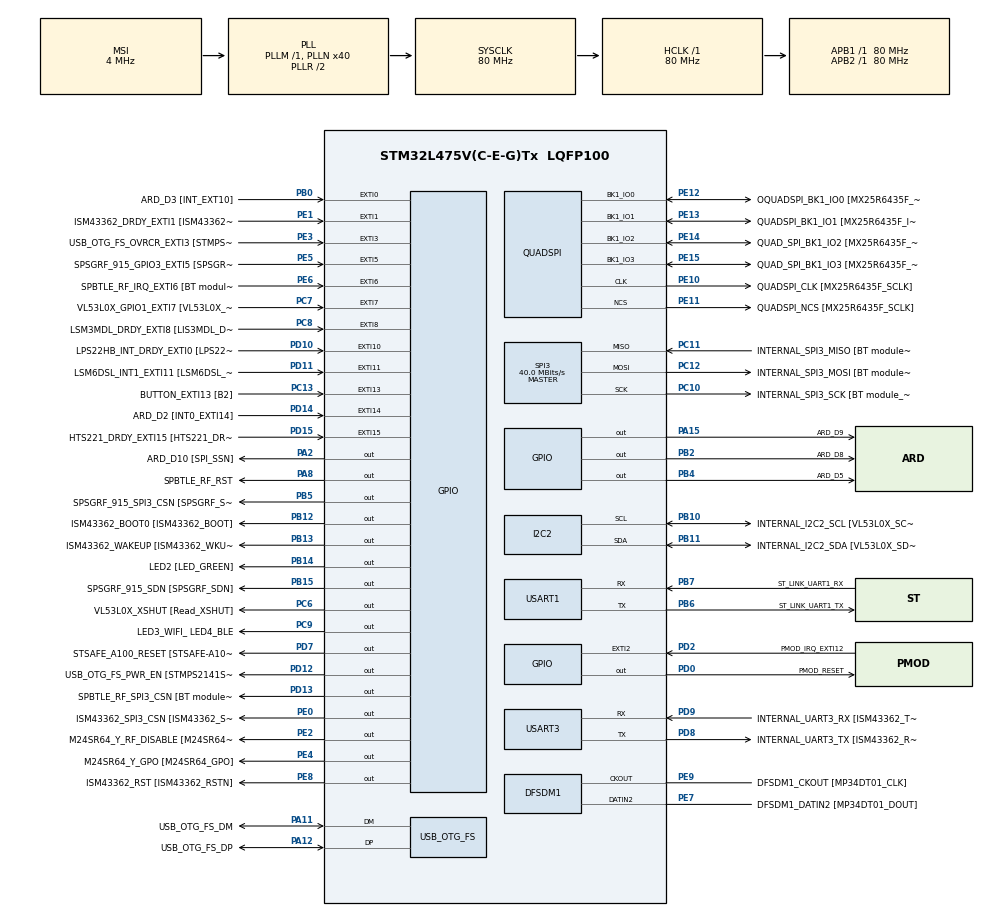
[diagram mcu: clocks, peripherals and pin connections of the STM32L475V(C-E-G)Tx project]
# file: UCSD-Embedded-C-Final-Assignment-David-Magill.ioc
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PD12.GPIO_Label=USB_OTG_FS_PWR_EN [STMPS2141STR_EN]
SPI3.Direction=SPI_DIRECTION_2LINES
SPI3.VirtualType=VM_MASTER
QUADSPI.ClockPrescaler=2
PB10.Mode=I2C
PC12.Signal=SPI3_MOSI
PB14.GPIO_Label=LED2 [LED_GREEN]
PC6.GPIO_Label=VL53L0X_XSHUT [Read_XSHUT]
PA6.GPIO_Label=ARD_D12 [SPI1_MISO]
PB6.GPIO_Label=ST_LINK_UART1_TX
PA15\ (JTDI).Signal=GPIO_Output
PC15-OSC32_OUT\ (PC15).Mode=LSE-External-Oscillator
PB13.Signal=GPIO_Output
PD6.GPIO_Label=PMOD_UART2_RX
PE6.GPIO_Label=SPBTLE_RF_IRQ_EXTI6 [BT module_SPI_IRQ]
RCC.SYSCLKSource=RCC_SYSCLKSOURCE_PLLCLK
PC14-OSC32_IN\ (PC14).Mode=LSE-External-Oscillator
SH.ADCx_IN16.0=ADC1_IN16
USART3.VirtualMode-Asynchronous=VM_ASYNC
PA14\ (JTCK-SWCLK).Signal=SYS_JTCK-SWCLK
PD4.Signal=USART2_RTS
RCC.APB2TimFreq_Value=80000000
PB6.Signal=USART1_TX
PC7.Signal=GPXTI7
PB6.Mode=Asynchronous
PC3.Signal=ADCx_IN4
PD0.Signal=GPIO_Output
PD8.Signal=USART3_TX
PE5.Signal=GPXTI5
PE1.Signal=GPXTI1
QUADSPI.FlashSize=23
NVIC.EXTI15_10_IRQn=true\:0\:0\:false\:false\:true\:true\:true
PB2.Signal=GPIO_Output
PD1.GPIO_Label=PMOD_SPI2_SCK
PB12.GPIO_Label=ISM43362_BOOT0 [ISM43362_BOOT]
PC4.GPIO_Label=ARD_A1 [ADC]
PE9.Signal=S_CKOUTDFSDM1
PB1.GPIO_Label=ARD_D6 [ADC1_IN6]
PE4.GPIO_Label=M24SR64_Y_GPO [M24SR64_GPO]
PE2.Signal=GPIO_Output
PA8.Signal=GPIO_Output
PE13.Mode=Single Bank
PE10.Signal=QUADSPI_CLK
PA0.Signal=UART4_TX
Mcu.Package=LQFP100
PB9.Signal=I2C1_SDA
PB1.Signal=ADCx_IN16
SPI3.Mode=SPI_MODE_MASTER
SH.ADCx_IN14.0=ADC1_IN14
PD12.Signal=GPIO_Output
PA10.Signal=USB_OTG_FS_ID
PE12.GPIO_Label=OQUADSPI_BK1_IO0 [MX25R6435F_IO0]
PC11.Mode=Full_Duplex_Master
SH.ADCx_IN9.0=ADC1_IN9
RCC.APB1TimFreq_Value=80000000
PA13\ (JTMS-SWDIO).Signal=SYS_JTMS-SWDIO
PE10.GPIO_Label=QUADSPI_CLK [MX25R6435F_SCLK]
PA4.GPIO_Label=ARD_D7
PD15.Signal=GPXTI15
PE12.Mode=Single Bank
PD9.GPIO_Label=INTERNAL_UART3_RX [ISM43362_TX]
PA9.GPIO_Label=USB_OTG_FS_VBUS [STMPS2141STR_OUT]
PC13.Signal=GPXTI13
PD3.Signal=USART2_CTS
PC6.Signal=GPIO_Output
PE10.Mode=Single Bank
PC2.Signal=ADCx_IN3
PB11.GPIO_Label=INTERNAL_I2C2_SDA [VL53L0X_SDA]
PD7.Signal=GPIO_Output
PD1.Signal=SPI2_SCK
PA11.GPIO_Label=USB_OTG_FS_DM
PC0.Signal=ADCx_IN1
PD10.Signal=GPXTI10
PB8.GPIO_Label=ARD_D15 [I2C1_SCL]
PA8.GPIO_Label=SPBTLE_RF_RST
PB11.Mode=I2C
PE8.GPIO_Label=ISM43362_RST [ISM43362_RSTN]
PA9.Signal=USB_OTG_FS_VBUS
PE9.GPIO_Label=DFSDM1_CKOUT [MP34DT01_CLK]
PD8.Mode=Asynchronous
PB10.Signal=I2C2_SCL
PB14.Signal=GPIO_Output
PA5.Signal=SPI1_SCK
PC12.Mode=Full_Duplex_Master
PE1.GPIO_Label=ISM43362_DRDY_EXTI1 [ISM43362_DATARDY]
PE14.Signal=QUADSPI_BK1_IO2
PE15.Signal=QUADSPI_BK1_IO3
PB15.GPIO_Label=SPSGRF_915_SDN [SPSGRF_SDN]
PE8.Signal=GPIO_Output
PA1.GPIO_Label=ARD_D0 [UART4_RX]
SH.ADCx_IN4.0=ADC1_IN4
QUADSPI.FifoThreshold=4
PC7.GPIO_Label=VL53L0X_GPIO1_EXTI7 [VL53L0X_GPIO1]
PA13\ (JTMS-SWDIO).Mode=Serial_Wire
PA4.Signal=ADCx_IN9
PB5.Signal=GPIO_Output
PE13.GPIO_Label=QUADSPI_BK1_IO1 [MX25R6435F_IO1]
PA5.GPIO_Label=ARD_D13 [SPI1_SCK]
PD11.Signal=GPXTI11
PE5.GPIO_Label=SPSGRF_915_GPIO3_EXTI5 [SPSGRF_GPIO_3]
PC12.GPIO_Label=INTERNAL_SPI3_MOSI [BT module_SPI_MOSI] [ISM43362_MOSI]
PA11.Signal=USB_OTG_FS_DM
ProjectManager.HeapSize=0x200
NVIC.PriorityGroup=NVIC_PRIORITYGROUP_4
PE3.Signal=GPXTI3
PC3.GPIO_Label=ARD_A2 [ADC]
PB4\ (NJTRST).GPIO_Label=ARD_D5
PD2.Signal=GPXTI2
PB0.Signal=GPXTI0
PC1.Signal=ADCx_IN2
PD2.GPIO_Label=PMOD_IRQ_EXTI12
PE15.Mode=Single Bank
Mcu.Family=STM32L4
RCC.CortexFreq_Value=80000000
PE11.GPIO_Label=QUADSPI_NCS [MX25R6435F_SCLK]
SH.ADCx_IN2.0=ADC1_IN2
PC10.Signal=SPI3_SCK
PA0.GPIO_Label=ARD_D1 [UART4_TX]
PC0.GPIO_Label=ARD_A5 [ADC]
PD0.GPIO_Label=PMOD_RESET
PA11.Mode=Device_Only
PB0.GPIO_Label=ARD_D3 [INT_EXT10]
PC13.GPIO_Label=BUTTON_EXTI13 [B2]
PB13.GPIO_Label=ISM43362_WAKEUP [ISM43362_WKUP]
PB11.Signal=I2C2_SDA
PB15.Signal=GPIO_Output
PD9.Mode=Asynchronous
ProjectManager.StackSize=0x400
PB3\ (JTDO-TRACESWO).Signal=SYS_JTDO-SWO
PD13.Signal=GPIO_Output
PA12.Signal=USB_OTG_FS_DP
PE11.Mode=Single Bank
PD11.GPIO_Label=LSM6DSL_INT1_EXTI11 [LSM6DSL_INT1]
RCC.HCLKFreq_Value=80000000
SH.ADCx_IN3.0=ADC1_IN3
PB5.PinState=GPIO_PIN_SET
RCC.AHBFreq_Value=80000000
RCC.HSE_VALUE=8000000
PE13.Signal=QUADSPI_BK1_IO1
PC11.GPIO_Label=INTERNAL_SPI3_MISO [BT module_SPI_MISO] [ISM43362_MISO]
PA10.GPIO_Label=USB_OTG_FS_ID
PB7.Signal=USART1_RX
PE4.Signal=GPIO_Output
QUADSPI.SampleShifting=QSPI_SAMPLE_SHIFTING_HALFCYCLE
PD7.GPIO_Label=STSAFE_A100_RESET [STSAFE-A100_RESET]
PB7.GPIO_Label=ST_LINK_UART1_RX
PD13.GPIO_Label=SPBTLE_RF_SPI3_CSN [BT module_SPI_CS]
PA6.Signal=SPI1_MISO
PD5.GPIO_Label=PMOD_UART2_TX
PA2.GPIO_Label=ARD_D10 [SPI_SSN]
USB_OTG_FS.VirtualMode=Device_Only
PE0.GPIO_Label=ISM43362_SPI3_CSN [ISM43362_SSN]
SH.ADCx_IN1.0=ADC1_IN1
PB5.GPIO_Label=SPSGRF_915_SPI3_CSN [SPSGRF_SPI_CS]
PC5.Signal=ADCx_IN14
PD3.GPIO_Label=PMOD_UART2_CTS
PE7.Signal=S_DATAIN2DFSDM1
PD6.Signal=USART2_RX
PE2.GPIO_Label=M24SR64_Y_RF_DISABLE [M24SR64_RFDIS]
PC2.GPIO_Label=ARD_A3 [ADC]
RCC.PLLSAI1N=24
PA3.Signal=S_TIM2_CH4
RCC.MSI_VALUE=4000000
PA14\ (JTCK-SWCLK).Mode=Serial_Wire
SH.ADCx_IN13.0=ADC1_IN13
PD15.GPIO_Label=HTS221_DRDY_EXTI15 [HTS221_DRDY]
PB9.GPIO_Label=ARD_D14 [I2C1_SDA]
PC10.GPIO_Label=INTERNAL_SPI3_SCK [BT module_SPI_SCLK] [ISM43362_SCK]
PC9.GPIO_Label=LED3_WIFI_ LED4_BLE
PC11.Signal=SPI3_MISO
PC8.Signal=GPXTI8
PC4.Signal=ADCx_IN13
PC10.Mode=Full_Duplex_Master
SH.S_DATAIN2DFSDM1.0=DFSDM1_DATIN2,PDM_SPI_Input_from_ch12_and_Internal_Clock
PE14.GPIO_Label=QUAD_SPI_BK1_IO2 [MX25R6435F_IO2]
PC15-OSC32_OUT\ (PC15).Signal=RCC_OSC32_OUT
PD9.Signal=USART3_RX
PD5.Signal=USART2_TX
PA14\ (JTCK-SWCLK).GPIO_Label=SYS_JTCK_SWCLK
PB3\ (JTDO-TRACESWO).GPIO_Label=SYS_JTD0_SWO
PA12.GPIO_Label=USB_OTG_FS_DP
PD8.GPIO_Label=INTERNAL_UART3_TX [ISM43362_RX]
PC8.GPIO_Label=LSM3MDL_DRDY_EXTI8 [LIS3MDL_DRDY]
USART1.VirtualMode-Asynchronous=VM_ASYNC
PE0.PinState=GPIO_PIN_SET
PE15.GPIO_Label=QUAD_SPI_BK1_IO3 [MX25R6435F_IO3]
ProjectManager.TargetToolchain=STM32CubeIDE
PB10.GPIO_Label=INTERNAL_I2C2_SCL [VL53L0X_SCL]
RCC.USBFreq_Value=48000000
PD10.GPIO_Label=LPS22HB_INT_DRDY_EXTI0 [LPS22HB_INT_DRDY] 
PE11.Signal=QUADSPI_NCS
PA1.Signal=UART4_RX
board=B-L475E-IOT01A1
RCC.VCOOutputFreq_Value=160000000
RCC.APB2Freq_Value=80000000
SPI3.CalculateBaudRate=40.0 MBits/s
PA13\ (JTMS-SWDIO).GPIO_Label=SYS_JTMS_SWDIO
PD4.GPIO_Label=PMOD_UART2_RTS
PE14.Mode=Single Bank
SH.S_CKOUTDFSDM1.0=DFSDM1_CKOUT,CKOUT
SH.S_CKOUTDFSDM1.1=DFSDM1_CKOUT,PDM_SPI_Input_from_ch12_and_Internal_Clock
RCC.ADCFreq_Value=48000000
PC1.GPIO_Label=ARD_A4 [ADC]
PD14.GPIO_Label=ARD_D2 [INT0_EXTI14]
PE6.Signal=GPXTI6
PA15\ (JTDI).GPIO_Label=ARD_D9
Mcu.Name=STM32L475V(C-E-G)Tx
PE0.Signal=GPIO_Output
PE7.GPIO_Label=DFSDM1_DATIN2 [MP34DT01_DOUT]
PE12.Signal=QUADSPI_BK1_IO0
PA2.Signal=GPIO_Output
PD14.Signal=GPXTI14
RCC.SYSCLKFreq_VALUE=80000000
PA7.GPIO_Label=ARD_D11 [SPI1_MOSI]
PA12.Mode=Device_Only
PC13.GPIO_ModeDefaultEXTI=GPIO_MODE_IT_FALLING
PC5.GPIO_Label=ARD_A0 [ADC]
PC14-OSC32_IN\ (PC14).Signal=RCC_OSC32_IN
PB7.Mode=Asynchronous
NVIC.EXTI9_5_IRQn=true\:0\:0\:false\:false\:true\:true\:true
PB2.GPIO_Label=ARD_D8
SH.S_TIM2_CH4.0=TIM2_CH4
RCC.HSI_VALUE=16000000
RCC.PLLN=40
PB8.Signal=I2C1_SCL
PE3.GPIO_Label=USB_OTG_FS_OVRCR_EXTI3 [STMPS2141STR_FAULT]
PC9.Signal=GPIO_Output
PD13.PinState=GPIO_PIN_SET
RCC.APB1Freq_Value=80000000
PB12.Signal=GPIO_Output
PA3.GPIO_Label=ARD_D4
PA7.Signal=SPI1_MOSI
PB4\ (NJTRST).Signal=GPIO_Output

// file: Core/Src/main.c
/* USER CODE BEGIN Header */
/**
  ******************************************************************************
  * @file           : main.c
  * @brief          : Main program body
  ******************************************************************************
  * @attention
  *
  * <h2><center>&copy; Copyright (c) 2021 STMicroelectronics.
  * All rights reserved.</center></h2>
  *
  * This software component is licensed by ST under BSD 3-Clause license,
  * the "License"; You may not use this file except in compliance with the
  * License. You may obtain a copy of the License at:
  *                        opensource.org/licenses/BSD-3-Clause
  *
  ******************************************************************************
  */
/* USER CODE END Header */
#include "main.h"

/* USER CODE BEGIN Includes */
#include "stm32l4xx_ll_utils.h"
#include "stm32l4xx_ll_gpio.h"

#include <stdio.h>
#include <stdbool.h>

#include "stm32l475e_iot01.h"
#include "stm32l475e_iot01_tsensor.h"
/* USER CODE END Includes */

DFSDM_Channel_HandleTypeDef hdfsdm1_channel1;

I2C_HandleTypeDef hi2c2;

QSPI_HandleTypeDef hqspi;

SPI_HandleTypeDef hspi3;

UART_HandleTypeDef huart1;
UART_HandleTypeDef huart3;

PCD_HandleTypeDef hpcd_USB_OTG_FS;

/* USER CODE BEGIN PV */
volatile int demoCount = 0;
bool demoOneShown = false;
bool demoTwoShown = false;
bool demoThreeShown = false;

/* USER CODE END PV */

void SystemClock_Config(void);
static void MX_GPIO_Init(void);
static void MX_DFSDM1_Init(void);
static void MX_I2C2_Init(void);
static void MX_QUADSPI_Init(void);
static void MX_SPI3_Init(void);
static void MX_USART1_UART_Init(void);
static void MX_USART3_UART_Init(void);
static void MX_USB_OTG_FS_PCD_Init(void);

int main(void)
{

  /* MCU Configuration--------------------------------------------------------*/

  /* Reset of all peripherals, Initializes the Flash interface and the Systick. */
  HAL_Init();

  /* Configure the system clock */
  SystemClock_Config();

  /* Initialize all configured peripherals */
  MX_GPIO_Init();
  MX_DFSDM1_Init();
  MX_I2C2_Init();
  MX_QUADSPI_Init();
  MX_SPI3_Init();
  MX_USART1_UART_Init();
  MX_USART3_UART_Init();
  MX_USB_OTG_FS_PCD_Init();
  /* USER CODE BEGIN 2 */
  BSP_TSENSOR_Init();

  /* USER CODE END 2 */

  /* Infinite loop */
  /* USER CODE BEGIN WHILE */

  char finalAssignmentMessage[] = "Final Assignment\r";
  HAL_UART_Transmit(&huart1, (uint8_t *) finalAssignmentMessage, sizeof(finalAssignmentMessage), HAL_MAX_DELAY);

  while (1)
  {

	if (demoCount == 0) {

		if (!demoOneShown) {
			uint32_t flash = LL_GetFlashSize();
			uint32_t uuidParts[3];
			char demoOneBuffer[69] = {0};

			uuidParts[0] = LL_GetUID_Word0();
			uuidParts[1] = LL_GetUID_Word1();
			uuidParts[2] = LL_GetUID_Word2();

			sprintf(demoOneBuffer, "\n\nDemo 1: LL APIs\rFlash Size: %lu\rUUID: %lu-%lu-%lu\r\n", flash, uuidParts[0], uuidParts[1], uuidParts[2]);
			HAL_UART_Transmit(&huart1, (uint8_t *) demoOneBuffer, sizeof(demoOneBuffer), 1000);

			demoOneShown = true;
		}

		LL_GPIO_TogglePin(LED2_GPIO_Port, LED2_Pin);
		HAL_Delay(1000);
	}

	if (demoCount == 1) {

		if (!demoTwoShown) {
			uint32_t deviceId = HAL_GetDEVID();
			uint32_t uidParts[3];
			char demoTwoBuffer[69] = {0};

			uidParts[0] = HAL_GetUIDw0();
			uidParts[1] = HAL_GetUIDw1();
			uidParts[2] = HAL_GetUIDw2();

			sprintf(demoTwoBuffer, "\n\nDemo 2: HAL APIs\rDevice ID: %lu\rUID: %lu-%lu-%lu\r\n", deviceId, uidParts[0], uidParts[1], uidParts[2]);
			HAL_UART_Transmit(&huart1, (uint8_t *) demoTwoBuffer, sizeof(demoTwoBuffer), 1000);

			demoTwoShown = true;
		}

		HAL_GPIO_TogglePin(GPIOB, LED2_Pin);
		HAL_Delay(2000);
	}

	if (demoCount == 2) {

		if (!demoThreeShown) {
			float temp = BSP_TSENSOR_ReadTemp();
			char demoThreeBuffer[45] = {0};

			sprintf(demoThreeBuffer, "\n\nDemo 3: BSP APIs\rTemperature: %f\r", temp);
			HAL_UART_Transmit(&huart1, (uint8_t *) demoThreeBuffer, sizeof(demoThreeBuffer), 1000);

			demoThreeShown = true;
		}

		BSP_LED_On(LED2);
		HAL_Delay(3000);
		BSP_LED_Off(LED2);
		HAL_Delay(3000);
	}
    /* USER CODE END WHILE */

  }
}

void SystemClock_Config(void)
{
  RCC_OscInitTypeDef RCC_OscInitStruct = {0};
  RCC_ClkInitTypeDef RCC_ClkInitStruct = {0};
  RCC_PeriphCLKInitTypeDef PeriphClkInit = {0};

  /** Configure LSE Drive Capability
  */
  HAL_PWR_EnableBkUpAccess();
  __HAL_RCC_LSEDRIVE_CONFIG(RCC_LSEDRIVE_LOW);
  /** Initializes the RCC Oscillators according to the specified parameters
  * in the RCC_OscInitTypeDef structure.
  */
  RCC_OscInitStruct.OscillatorType = RCC_OSCILLATORTYPE_LSE|RCC_OSCILLATORTYPE_MSI;
  RCC_OscInitStruct.LSEState = RCC_LSE_ON;
  RCC_OscInitStruct.MSIState = RCC_MSI_ON;
  RCC_OscInitStruct.MSICalibrationValue = 0;
  RCC_OscInitStruct.MSIClockRange = RCC_MSIRANGE_6;
  RCC_OscInitStruct.PLL.PLLState = RCC_PLL_ON;
  RCC_OscInitStruct.PLL.PLLSource = RCC_PLLSOURCE_MSI;
  RCC_OscInitStruct.PLL.PLLM = 1;
  RCC_OscInitStruct.PLL.PLLN = 40;
  RCC_OscInitStruct.PLL.PLLP = RCC_PLLP_DIV7;
  RCC_OscInitStruct.PLL.PLLQ = RCC_PLLQ_DIV2;
  RCC_OscInitStruct.PLL.PLLR = RCC_PLLR_DIV2;
  if (HAL_RCC_OscConfig(&RCC_OscInitStruct) != HAL_OK)
  {
    Error_Handler();
  }
  /** Initializes the CPU, AHB and APB buses clocks
  */
  RCC_ClkInitStruct.ClockType = RCC_CLOCKTYPE_HCLK|RCC_CLOCKTYPE_SYSCLK
                              |RCC_CLOCKTYPE_PCLK1|RCC_CLOCKTYPE_PCLK2;
  RCC_ClkInitStruct.SYSCLKSource = RCC_SYSCLKSOURCE_PLLCLK;
  RCC_ClkInitStruct.AHBCLKDivider = RCC_SYSCLK_DIV1;
  RCC_ClkInitStruct.APB1CLKDivider = RCC_HCLK_DIV1;
  RCC_ClkInitStruct.APB2CLKDivider = RCC_HCLK_DIV1;

  if (HAL_RCC_ClockConfig(&RCC_ClkInitStruct, FLASH_LATENCY_4) != HAL_OK)
  {
    Error_Handler();
  }
  PeriphClkInit.PeriphClockSelection = RCC_PERIPHCLK_USART1|RCC_PERIPHCLK_USART3
                              |RCC_PERIPHCLK_I2C2|RCC_PERIPHCLK_DFSDM1
                              |RCC_PERIPHCLK_USB;
  PeriphClkInit.Usart1ClockSelection = RCC_USART1CLKSOURCE_PCLK2;
  PeriphClkInit.Usart3ClockSelection = RCC_USART3CLKSOURCE_PCLK1;
  PeriphClkInit.I2c2ClockSelection = RCC_I2C2CLKSOURCE_PCLK1;
  PeriphClkInit.Dfsdm1ClockSelection = RCC_DFSDM1CLKSOURCE_PCLK;
  PeriphClkInit.UsbClockSelection = RCC_USBCLKSOURCE_PLLSAI1;
  PeriphClkInit.PLLSAI1.PLLSAI1Source = RCC_PLLSOURCE_MSI;
  PeriphClkInit.PLLSAI1.PLLSAI1M = 1;
  PeriphClkInit.PLLSAI1.PLLSAI1N = 24;
  PeriphClkInit.PLLSAI1.PLLSAI1P = RCC_PLLP_DIV7;
  PeriphClkInit.PLLSAI1.PLLSAI1Q = RCC_PLLQ_DIV2;
  PeriphClkInit.PLLSAI1.PLLSAI1R = RCC_PLLR_DIV2;
  PeriphClkInit.PLLSAI1.PLLSAI1ClockOut = RCC_PLLSAI1_48M2CLK;
  if (HAL_RCCEx_PeriphCLKConfig(&PeriphClkInit) != HAL_OK)
  {
    Error_Handler();
  }
  /** Configure the main internal regulator output voltage
  */
  if (HAL_PWREx_ControlVoltageScaling(PWR_REGULATOR_VOLTAGE_SCALE1) != HAL_OK)
  {
    Error_Handler();
  }
  /** Enable MSI Auto calibration
  */
  HAL_RCCEx_EnableMSIPLLMode();
}

static void MX_DFSDM1_Init(void)
{

  hdfsdm1_channel1.Instance = DFSDM1_Channel1;
  hdfsdm1_channel1.Init.OutputClock.Activation = ENABLE;
  hdfsdm1_channel1.Init.OutputClock.Selection = DFSDM_CHANNEL_OUTPUT_CLOCK_SYSTEM;
  hdfsdm1_channel1.Init.OutputClock.Divider = 2;
  hdfsdm1_channel1.Init.Input.Multiplexer = DFSDM_CHANNEL_EXTERNAL_INPUTS;
  hdfsdm1_channel1.Init.Input.DataPacking = DFSDM_CHANNEL_STANDARD_MODE;
  hdfsdm1_channel1.Init.Input.Pins = DFSDM_CHANNEL_FOLLOWING_CHANNEL_PINS;
  hdfsdm1_channel1.Init.SerialInterface.Type = DFSDM_CHANNEL_SPI_RISING;
  hdfsdm1_channel1.Init.SerialInterface.SpiClock = DFSDM_CHANNEL_SPI_CLOCK_INTERNAL;
  hdfsdm1_channel1.Init.Awd.FilterOrder = DFSDM_CHANNEL_FASTSINC_ORDER;
  hdfsdm1_channel1.Init.Awd.Oversampling = 1;
  hdfsdm1_channel1.Init.Offset = 0;
  hdfsdm1_channel1.Init.RightBitShift = 0x00;
  if (HAL_DFSDM_ChannelInit(&hdfsdm1_channel1) != HAL_OK)
  {
    Error_Handler();
  }

}

static void MX_I2C2_Init(void)
{

  hi2c2.Instance = I2C2;
  hi2c2.Init.Timing = 0x00000E14;
  hi2c2.Init.OwnAddress1 = 0;
  hi2c2.Init.AddressingMode = I2C_ADDRESSINGMODE_7BIT;
  hi2c2.Init.DualAddressMode = I2C_DUALADDRESS_DISABLE;
  hi2c2.Init.OwnAddress2 = 0;
  hi2c2.Init.OwnAddress2Masks = I2C_OA2_NOMASK;
  hi2c2.Init.GeneralCallMode = I2C_GENERALCALL_DISABLE;
  hi2c2.Init.NoStretchMode = I2C_NOSTRETCH_DISABLE;
  if (HAL_I2C_Init(&hi2c2) != HAL_OK)
  {
    Error_Handler();
  }
  /** Configure Analogue filter
  */
  if (HAL_I2CEx_ConfigAnalogFilter(&hi2c2, I2C_ANALOGFILTER_ENABLE) != HAL_OK)
  {
    Error_Handler();
  }
  /** Configure Digital filter
  */
  if (HAL_I2CEx_ConfigDigitalFilter(&hi2c2, 0) != HAL_OK)
  {
    Error_Handler();
  }

}

static void MX_QUADSPI_Init(void)
{

  /* QUADSPI parameter configuration*/
  hqspi.Instance = QUADSPI;
  hqspi.Init.ClockPrescaler = 2;
  hqspi.Init.FifoThreshold = 4;
  hqspi.Init.SampleShifting = QSPI_SAMPLE_SHIFTING_HALFCYCLE;
  hqspi.Init.FlashSize = 23;
  hqspi.Init.ChipSelectHighTime = QSPI_CS_HIGH_TIME_1_CYCLE;
  hqspi.Init.ClockMode = QSPI_CLOCK_MODE_0;
  if (HAL_QSPI_Init(&hqspi) != HAL_OK)
  {
    Error_Handler();
  }

}

static void MX_SPI3_Init(void)
{

  /* SPI3 parameter configuration*/
  hspi3.Instance = SPI3;
  hspi3.Init.Mode = SPI_MODE_MASTER;
  hspi3.Init.Direction = SPI_DIRECTION_2LINES;
  hspi3.Init.DataSize = SPI_DATASIZE_4BIT;
  hspi3.Init.CLKPolarity = SPI_POLARITY_LOW;
  hspi3.Init.CLKPhase = SPI_PHASE_1EDGE;
  hspi3.Init.NSS = SPI_NSS_SOFT;
  hspi3.Init.BaudRatePrescaler = SPI_BAUDRATEPRESCALER_2;
  hspi3.Init.FirstBit = SPI_FIRSTBIT_MSB;
  hspi3.Init.TIMode = SPI_TIMODE_DISABLE;
  hspi3.Init.CRCCalculation = SPI_CRCCALCULATION_DISABLE;
  hspi3.Init.CRCPolynomial = 7;
  hspi3.Init.CRCLength = SPI_CRC_LENGTH_DATASIZE;
  hspi3.Init.NSSPMode = SPI_NSS_PULSE_ENABLE;
  if (HAL_SPI_Init(&hspi3) != HAL_OK)
  {
    Error_Handler();
  }

}

static void MX_USART1_UART_Init(void)
{

  huart1.Instance = USART1;
  huart1.Init.BaudRate = 115200;
  huart1.Init.WordLength = UART_WORDLENGTH_8B;
  huart1.Init.StopBits = UART_STOPBITS_1;
  huart1.Init.Parity = UART_PARITY_NONE;
  huart1.Init.Mode = UART_MODE_TX_RX;
  huart1.Init.HwFlowCtl = UART_HWCONTROL_NONE;
  huart1.Init.OverSampling = UART_OVERSAMPLING_16;
  huart1.Init.OneBitSampling = UART_ONE_BIT_SAMPLE_DISABLE;
  huart1.AdvancedInit.AdvFeatureInit = UART_ADVFEATURE_NO_INIT;
  if (HAL_UART_Init(&huart1) != HAL_OK)
  {
    Error_Handler();
  }

}

static void MX_USART3_UART_Init(void)
{

  huart3.Instance = USART3;
  huart3.Init.BaudRate = 115200;
  huart3.Init.WordLength = UART_WORDLENGTH_8B;
  huart3.Init.StopBits = UART_STOPBITS_1;
  huart3.Init.Parity = UART_PARITY_NONE;
  huart3.Init.Mode = UART_MODE_TX_RX;
  huart3.Init.HwFlowCtl = UART_HWCONTROL_NONE;
  huart3.Init.OverSampling = UART_OVERSAMPLING_16;
  huart3.Init.OneBitSampling = UART_ONE_BIT_SAMPLE_DISABLE;
  huart3.AdvancedInit.AdvFeatureInit = UART_ADVFEATURE_NO_INIT;
  if (HAL_UART_Init(&huart3) != HAL_OK)
  {
    Error_Handler();
  }

}

static void MX_USB_OTG_FS_PCD_Init(void)
{

  hpcd_USB_OTG_FS.Instance = USB_OTG_FS;
  hpcd_USB_OTG_FS.Init.dev_endpoints = 6;
  hpcd_USB_OTG_FS.Init.speed = PCD_SPEED_FULL;
  hpcd_USB_OTG_FS.Init.phy_itface = PCD_PHY_EMBEDDED;
  hpcd_USB_OTG_FS.Init.Sof_enable = DISABLE;
  hpcd_USB_OTG_FS.Init.low_power_enable = DISABLE;
  hpcd_USB_OTG_FS.Init.lpm_enable = DISABLE;
  hpcd_USB_OTG_FS.Init.battery_charging_enable = DISABLE;
  hpcd_USB_OTG_FS.Init.use_dedicated_ep1 = DISABLE;
  hpcd_USB_OTG_FS.Init.vbus_sensing_enable = DISABLE;
  if (HAL_PCD_Init(&hpcd_USB_OTG_FS) != HAL_OK)
  {
    Error_Handler();
  }

}

static void MX_GPIO_Init(void)
{
  GPIO_InitTypeDef GPIO_InitStruct = {0};

  /* GPIO Ports Clock Enable */
  __HAL_RCC_GPIOE_CLK_ENABLE();
  __HAL_RCC_GPIOC_CLK_ENABLE();
  __HAL_RCC_GPIOA_CLK_ENABLE();
  __HAL_RCC_GPIOB_CLK_ENABLE();
  __HAL_RCC_GPIOD_CLK_ENABLE();

  /*Configure GPIO pin Output Level */
  HAL_GPIO_WritePin(GPIOE, M24SR64_Y_RF_DISABLE_Pin|M24SR64_Y_GPO_Pin|ISM43362_RST_Pin, GPIO_PIN_RESET);

  /*Configure GPIO pin Output Level */
  HAL_GPIO_WritePin(GPIOA, ARD_D10_Pin|SPBTLE_RF_RST_Pin|ARD_D9_Pin, GPIO_PIN_RESET);

  /*Configure GPIO pin Output Level */
  HAL_GPIO_WritePin(GPIOB, ARD_D8_Pin|ISM43362_BOOT0_Pin|ISM43362_WAKEUP_Pin|LED2_Pin
                          |SPSGRF_915_SDN_Pin|ARD_D5_Pin, GPIO_PIN_RESET);

  /*Configure GPIO pin Output Level */
  HAL_GPIO_WritePin(GPIOD, USB_OTG_FS_PWR_EN_Pin|PMOD_RESET_Pin|STSAFE_A100_RESET_Pin, GPIO_PIN_RESET);

  /*Configure GPIO pin Output Level */
  HAL_GPIO_WritePin(SPBTLE_RF_SPI3_CSN_GPIO_Port, SPBTLE_RF_SPI3_CSN_Pin, GPIO_PIN_SET);

  /*Configure GPIO pin Output Level */
  HAL_GPIO_WritePin(GPIOC, VL53L0X_XSHUT_Pin|LED3_WIFI__LED4_BLE_Pin, GPIO_PIN_RESET);

  /*Configure GPIO pin Output Level */
  HAL_GPIO_WritePin(SPSGRF_915_SPI3_CSN_GPIO_Port, SPSGRF_915_SPI3_CSN_Pin, GPIO_PIN_SET);

  /*Configure GPIO pin Output Level */
  HAL_GPIO_WritePin(ISM43362_SPI3_CSN_GPIO_Port, ISM43362_SPI3_CSN_Pin, GPIO_PIN_SET);

  /*Configure GPIO pins : M24SR64_Y_RF_DISABLE_Pin M24SR64_Y_GPO_Pin ISM43362_RST_Pin ISM43362_SPI3_CSN_Pin */
  GPIO_InitStruct.Pin = M24SR64_Y_RF_DISABLE_Pin|M24SR64_Y_GPO_Pin|ISM43362_RST_Pin|ISM43362_SPI3_CSN_Pin;
  GPIO_InitStruct.Mode = GPIO_MODE_OUTPUT_PP;
  GPIO_InitStruct.Pull = GPIO_NOPULL;
  GPIO_InitStruct.Speed = GPIO_SPEED_FREQ_LOW;
  HAL_GPIO_Init(GPIOE, &GPIO_InitStruct);

  /*Configure GPIO pins : USB_OTG_FS_OVRCR_EXTI3_Pin SPSGRF_915_GPIO3_EXTI5_Pin SPBTLE_RF_IRQ_EXTI6_Pin ISM43362_DRDY_EXTI1_Pin */
  GPIO_InitStruct.Pin = USB_OTG_FS_OVRCR_EXTI3_Pin|SPSGRF_915_GPIO3_EXTI5_Pin|SPBTLE_RF_IRQ_EXTI6_Pin|ISM43362_DRDY_EXTI1_Pin;
  GPIO_InitStruct.Mode = GPIO_MODE_IT_RISING;
  GPIO_InitStruct.Pull = GPIO_NOPULL;
  HAL_GPIO_Init(GPIOE, &GPIO_InitStruct);

  /*Configure GPIO pin : BUTTON_EXTI13_Pin */
  GPIO_InitStruct.Pin = BUTTON_EXTI13_Pin;
  GPIO_InitStruct.Mode = GPIO_MODE_IT_FALLING;
  GPIO_InitStruct.Pull = GPIO_NOPULL;
  HAL_GPIO_Init(BUTTON_EXTI13_GPIO_Port, &GPIO_InitStruct);

  /*Configure GPIO pins : ARD_A5_Pin ARD_A4_Pin ARD_A3_Pin ARD_A2_Pin
                           ARD_A1_Pin ARD_A0_Pin */
  GPIO_InitStruct.Pin = ARD_A5_Pin|ARD_A4_Pin|ARD_A3_Pin|ARD_A2_Pin
                          |ARD_A1_Pin|ARD_A0_Pin;
  GPIO_InitStruct.Mode = GPIO_MODE_ANALOG_ADC_CONTROL;
  GPIO_InitStruct.Pull = GPIO_NOPULL;
  HAL_GPIO_Init(GPIOC, &GPIO_InitStruct);

  /*Configure GPIO pins : ARD_D1_Pin ARD_D0_Pin */
  GPIO_InitStruct.Pin = ARD_D1_Pin|ARD_D0_Pin;
  GPIO_InitStruct.Mode = GPIO_MODE_AF_PP;
  GPIO_InitStruct.Pull = GPIO_NOPULL;
  GPIO_InitStruct.Speed = GPIO_SPEED_FREQ_VERY_HIGH;
  GPIO_InitStruct.Alternate = GPIO_AF8_UART4;
  HAL_GPIO_Init(GPIOA, &GPIO_InitStruct);

  /*Configure GPIO pins : ARD_D10_Pin SPBTLE_RF_RST_Pin ARD_D9_Pin */
  GPIO_InitStruct.Pin = ARD_D10_Pin|SPBTLE_RF_RST_Pin|ARD_D9_Pin;
  GPIO_InitStruct.Mode = GPIO_MODE_OUTPUT_PP;
  GPIO_InitStruct.Pull = GPIO_NOPULL;
  GPIO_InitStruct.Speed = GPIO_SPEED_FREQ_LOW;
  HAL_GPIO_Init(GPIOA, &GPIO_InitStruct);

  /*Configure GPIO pin : ARD_D4_Pin */
  GPIO_InitStruct.Pin = ARD_D4_Pin;
  GPIO_InitStruct.Mode = GPIO_MODE_AF_PP;
  GPIO_InitStruct.Pull = GPIO_NOPULL;
  GPIO_InitStruct.Speed = GPIO_SPEED_FREQ_LOW;
  GPIO_InitStruct.Alternate = GPIO_AF1_TIM2;
  HAL_GPIO_Init(ARD_D4_GPIO_Port, &GPIO_InitStruct);

  /*Configure GPIO pin : ARD_D7_Pin */
  GPIO_InitStruct.Pin = ARD_D7_Pin;
  GPIO_InitStruct.Mode = GPIO_MODE_ANALOG_ADC_CONTROL;
  GPIO_InitStruct.Pull = GPIO_NOPULL;
  HAL_GPIO_Init(ARD_D7_GPIO_Port, &GPIO_InitStruct);

  /*Configure GPIO pins : ARD_D13_Pin ARD_D12_Pin ARD_D11_Pin */
  GPIO_InitStruct.Pin = ARD_D13_Pin|ARD_D12_Pin|ARD_D11_Pin;
  GPIO_InitStruct.Mode = GPIO_MODE_AF_PP;
  GPIO_InitStruct.Pull = GPIO_NOPULL;
  GPIO_InitStruct.Speed = GPIO_SPEED_FREQ_VERY_HIGH;
  GPIO_InitStruct.Alternate = GPIO_AF5_SPI1;
  HAL_GPIO_Init(GPIOA, &GPIO_InitStruct);

  /*Configure GPIO pin : ARD_D3_Pin */
  GPIO_InitStruct.Pin = ARD_D3_Pin;
  GPIO_InitStruct.Mode = GPIO_MODE_IT_RISING;
  GPIO_InitStruct.Pull = GPIO_NOPULL;
  HAL_GPIO_Init(ARD_D3_GPIO_Port, &GPIO_InitStruct);

  /*Configure GPIO pin : ARD_D6_Pin */
  GPIO_InitStruct.Pin = ARD_D6_Pin;
  GPIO_InitStruct.Mode = GPIO_MODE_ANALOG_ADC_CONTROL;
  GPIO_InitStruct.Pull = GPIO_NOPULL;
  HAL_GPIO_Init(ARD_D6_GPIO_Port, &GPIO_InitStruct);

  /*Configure GPIO pins : ARD_D8_Pin ISM43362_BOOT0_Pin ISM43362_WAKEUP_Pin LED2_Pin
                           SPSGRF_915_SDN_Pin ARD_D5_Pin SPSGRF_915_SPI3_CSN_Pin */
  GPIO_InitStruct.Pin = ARD_D8_Pin|ISM43362_BOOT0_Pin|ISM43362_WAKEUP_Pin|LED2_Pin
                          |SPSGRF_915_SDN_Pin|ARD_D5_Pin|SPSGRF_915_SPI3_CSN_Pin;
  GPIO_InitStruct.Mode = GPIO_MODE_OUTPUT_PP;
  GPIO_InitStruct.Pull = GPIO_NOPULL;
  GPIO_InitStruct.Speed = GPIO_SPEED_FREQ_LOW;
  HAL_GPIO_Init(GPIOB, &GPIO_InitStruct);

  /*Configure GPIO pins : LPS22HB_INT_DRDY_EXTI0_Pin LSM6DSL_INT1_EXTI11_Pin ARD_D2_Pin HTS221_DRDY_EXTI15_Pin
                           PMOD_IRQ_EXTI12_Pin */
  GPIO_InitStruct.Pin = LPS22HB_INT_DRDY_EXTI0_Pin|LSM6DSL_INT1_EXTI11_Pin|ARD_D2_Pin|HTS221_DRDY_EXTI15_Pin
                          |PMOD_IRQ_EXTI12_Pin;
  GPIO_InitStruct.Mode = GPIO_MODE_IT_RISING;
  GPIO_InitStruct.Pull = GPIO_NOPULL;
  HAL_GPIO_Init(GPIOD, &GPIO_InitStruct);

  /*Configure GPIO pins : USB_OTG_FS_PWR_EN_Pin SPBTLE_RF_SPI3_CSN_Pin PMOD_RESET_Pin STSAFE_A100_RESET_Pin */
  GPIO_InitStruct.Pin = USB_OTG_FS_PWR_EN_Pin|SPBTLE_RF_SPI3_CSN_Pin|PMOD_RESET_Pin|STSAFE_A100_RESET_Pin;
  GPIO_InitStruct.Mode = GPIO_MODE_OUTPUT_PP;
  GPIO_InitStruct.Pull = GPIO_NOPULL;
  GPIO_InitStruct.Speed = GPIO_SPEED_FREQ_LOW;
  HAL_GPIO_Init(GPIOD, &GPIO_InitStruct);

  /*Configure GPIO pins : VL53L0X_XSHUT_Pin LED3_WIFI__LED4_BLE_Pin */
  GPIO_InitStruct.Pin = VL53L0X_XSHUT_Pin|LED3_WIFI__LED4_BLE_Pin;
  GPIO_InitStruct.Mode = GPIO_MODE_OUTPUT_PP;
  GPIO_InitStruct.Pull = GPIO_NOPULL;
  GPIO_InitStruct.Speed = GPIO_SPEED_FREQ_LOW;
  HAL_GPIO_Init(GPIOC, &GPIO_InitStruct);

  /*Configure GPIO pins : VL53L0X_GPIO1_EXTI7_Pin LSM3MDL_DRDY_EXTI8_Pin */
  GPIO_InitStruct.Pin = VL53L0X_GPIO1_EXTI7_Pin|LSM3MDL_DRDY_EXTI8_Pin;
  GPIO_InitStruct.Mode = GPIO_MODE_IT_RISING;
  GPIO_InitStruct.Pull = GPIO_NOPULL;
  HAL_GPIO_Init(GPIOC, &GPIO_InitStruct);

  /*Configure GPIO pin : PMOD_SPI2_SCK_Pin */
  GPIO_InitStruct.Pin = PMOD_SPI2_SCK_Pin;
  GPIO_InitStruct.Mode = GPIO_MODE_AF_PP;
  GPIO_InitStruct.Pull = GPIO_NOPULL;
  GPIO_InitStruct.Speed = GPIO_SPEED_FREQ_VERY_HIGH;
  GPIO_InitStruct.Alternate = GPIO_AF5_SPI2;
  HAL_GPIO_Init(PMOD_SPI2_SCK_GPIO_Port, &GPIO_InitStruct);

  /*Configure GPIO pins : PMOD_UART2_CTS_Pin PMOD_UART2_RTS_Pin PMOD_UART2_TX_Pin PMOD_UART2_RX_Pin */
  GPIO_InitStruct.Pin = PMOD_UART2_CTS_Pin|PMOD_UART2_RTS_Pin|PMOD_UART2_TX_Pin|PMOD_UART2_RX_Pin;
  GPIO_InitStruct.Mode = GPIO_MODE_AF_PP;
  GPIO_InitStruct.Pull = GPIO_NOPULL;
  GPIO_InitStruct.Speed = GPIO_SPEED_FREQ_VERY_HIGH;
  GPIO_InitStruct.Alternate = GPIO_AF7_USART2;
  HAL_GPIO_Init(GPIOD, &GPIO_InitStruct);

  /*Configure GPIO pins : ARD_D15_Pin ARD_D14_Pin */
  GPIO_InitStruct.Pin = ARD_D15_Pin|ARD_D14_Pin;
  GPIO_InitStruct.Mode = GPIO_MODE_AF_OD;
  GPIO_InitStruct.Pull = GPIO_PULLUP;
  GPIO_InitStruct.Speed = GPIO_SPEED_FREQ_VERY_HIGH;
  GPIO_InitStruct.Alternate = GPIO_AF4_I2C1;
  HAL_GPIO_Init(GPIOB, &GPIO_InitStruct);

  /* EXTI interrupt init*/
  HAL_NVIC_SetPriority(EXTI9_5_IRQn, 0, 0);
  HAL_NVIC_EnableIRQ(EXTI9_5_IRQn);

  HAL_NVIC_SetPriority(EXTI15_10_IRQn, 0, 0);
  HAL_NVIC_EnableIRQ(EXTI15_10_IRQn);

}

/* USER CODE BEGIN 4 */

void HAL_GPIO_EXTI_Callback(uint16_t GPIO_Pin)
{
  /* Prevent unused argument(s) compilation warning */
  UNUSED(GPIO_Pin);

  if (GPIO_Pin == GPIO_PIN_13) {

	  demoCount++;

	  if (demoCount > 2) {
		  demoCount = 0;
	  }

	  demoOneShown = false;
	  demoTwoShown = false;
	  demoThreeShown = false;
  }

}

/* USER CODE END 4 */

void Error_Handler(void)
{
  __disable_irq();
  while (1)
  {
  }
}

/************************ (C) COPYRIGHT STMicroelectronics *****END OF FILE****/
